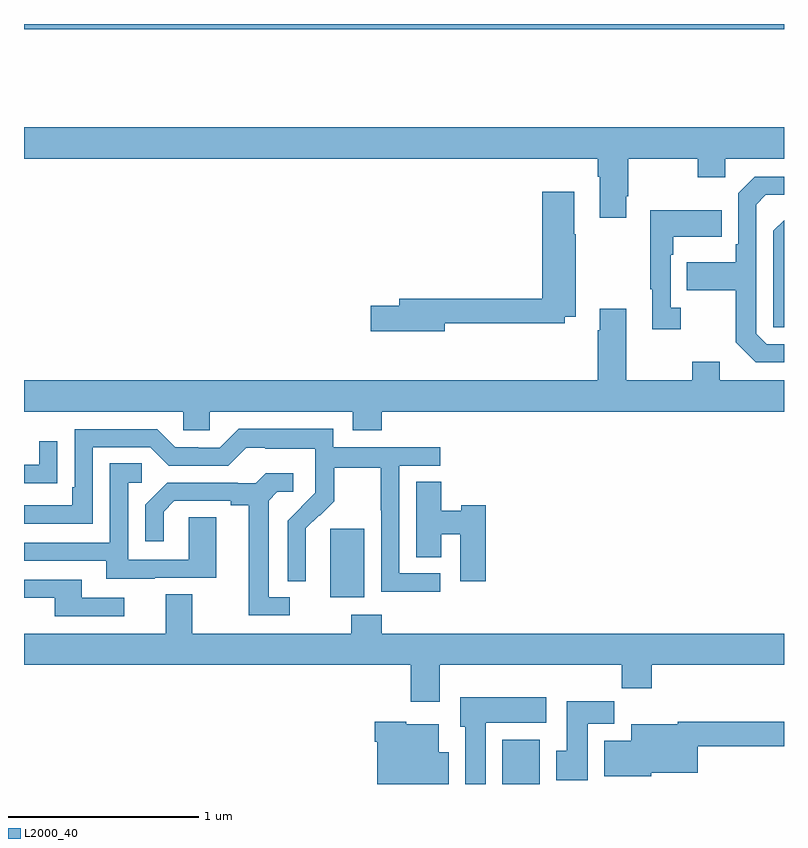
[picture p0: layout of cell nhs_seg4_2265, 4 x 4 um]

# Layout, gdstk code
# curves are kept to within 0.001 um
import gdstk
lib = gdstk.Library(unit=1e-6, precision=1e-09)
def R(c, l, rs):  # rectangles x0, y0, x1, y1
    for r in rs: c.add(gdstk.rectangle(r[:2], r[2:], *l))
def P(c, l, *ps):  # polygons
    for p in ps: c.add(gdstk.Polygon(p, *l))
L2000_40 = (2000, 40)

nhs_seg4_2265 = lib.new_cell('nhs_seg4_2265')
R(nhs_seg4_2265, L2000_40, [(231.518,754.9,231.715,755.134), (230.612,755.882,230.791,756.243), (229,758.872,233,758.9)])
P(nhs_seg4_2265, L2000_40, [(232.171,757.993),(232.179,757.993),(232.179,758.192),(232.546,758.192),(232.546,758.093),(232.692,758.093),(232.692,758.192),(233,758.192),(233,758.356),(229,758.356),(229,758.192),(232.019,758.192),(232.019,758.096),(232.031,758.096),(232.031,757.881),(232.171,757.881)],
  [(233,757.215),(232.908,757.215),(232.854,757.269),(232.854,757.95),(232.905,758.001),(233,758.001),(233,758.097),(232.845,758.097),(232.758,758.01),(232.758,757.741),(232.746,757.741),(232.746,757.645),(232.489,757.645),(232.489,757.498),(232.746,757.498),(232.746,757.225),(232.851,757.119),(233,757.119)],
  [(231.214,757.326),(231.846,757.326),(231.846,757.358),(231.903,757.358),(231.903,757.793),(231.895,757.793),(231.895,758.017),(231.728,758.017),(231.728,757.454),(230.975,757.454),(230.975,757.418),(230.826,757.418),(230.826,757.283),(231.214,757.283)],
  [(232.456,757.406),(232.404,757.406),(232.404,757.685),(232.417,757.685),(232.417,757.781),(232.673,757.781),(232.673,757.921),(232.296,757.921),(232.296,757.505),(232.307,757.505),(232.307,757.293),(232.456,757.293)],
  [(233,757.868),(232.944,757.812),(232.944,757.305),(233,757.305)],
  [(230.882,756.86),(233,756.86),(233,757.024),(232.663,757.024),(232.663,757.123),(232.516,757.123),(232.516,757.024),(232.171,757.024),(232.171,757.402),(232.031,757.402),(232.031,757.289),(232.019,757.289),(232.019,757.024),(229,757.024),(229,756.86),(229.839,756.86),(229.839,756.762),(229.977,756.762),(229.977,756.86),(230.729,756.86),(230.729,756.761),(230.882,756.761)],
  [(231.19,756.009),(230.976,756.009),(230.976,756.576),(231.19,756.576),(231.19,756.672),(230.628,756.672),(230.628,756.769),(230.131,756.769),(230.031,756.669),(229.916,756.669),(229.916,756.672),(229.797,756.672),(229.701,756.768),(229.266,756.768),(229.266,756.463),(229.253,756.463),(229.253,756.366),(229,756.366),(229,756.27),(229.362,756.27),(229.362,756.672),(229.665,756.672),(229.761,756.576),(230.076,756.576),(230.169,756.669),(230.269,756.669),(230.269,756.665),(230.532,756.665),(230.532,756.531),(230.534,756.531),(230.534,756.434),(230.388,756.286),(230.388,755.968),(230.484,755.968),(230.483,756.245),(230.553,756.315),(230.556,756.312),(230.633,756.389),(230.633,756.564),(230.878,756.564),(230.878,756.34),(230.88,756.34),(230.88,755.911),(231.19,755.911)],
  [(229.073,756.484),(229.175,756.484),(229.175,756.703),(229.079,756.703),(229.079,756.579),(229,756.579),(229,756.483),(229.073,756.483)],
  [(229.687,755.985),(230.011,755.985),(230.011,756.305),(229.866,756.305),(229.866,756.081),(229.548,756.081),(229.548,756.486),(229.621,756.486),(229.621,756.587),(229.452,756.587),(229.452,756.171),(229,756.171),(229,756.075),(229.433,756.075),(229.433,755.981),(229.687,755.981)],
  [(230.398,755.883),(230.287,755.883),(230.287,756.391),(230.334,756.438),(230.416,756.438),(230.416,756.535),(230.272,756.535),(230.22,756.483),(230.126,756.483),(230.126,756.486),(229.754,756.486),(229.638,756.37),(229.638,756.177),(229.735,756.177),(229.735,756.333),(229.792,756.39),(230.087,756.39),(230.087,756.368),(230.183,756.368),(230.183,755.787),(230.398,755.787)],
  [(231.431,756.368),(231.3,756.368),(231.3,756.337),(231.196,756.337),(231.196,756.491),(231.065,756.491),(231.065,756.094),(231.196,756.094),(231.196,756.215),(231.296,756.215),(231.296,755.967),(231.431,755.967)],
  [(229.528,755.88),(229.303,755.88),(229.303,755.976),(229,755.976),(229,755.88),(229.163,755.88),(229.163,755.784),(229.528,755.784)],
  [(231.187,755.528),(232.147,755.528),(232.147,755.404),(232.304,755.404),(232.304,755.528),(233,755.528),(233,755.692),(230.882,755.692),(230.882,755.791),(230.722,755.791),(230.722,755.692),(229.885,755.692),(229.885,755.9),(229.745,755.9),(229.745,755.692),(229,755.692),(229,755.528),(231.035,755.528),(231.035,755.334),(231.187,755.334)],
  [(231.43,755.222),(231.748,755.222),(231.748,755.356),(231.296,755.356),(231.296,755.202),(231.323,755.202),(231.323,754.9),(231.43,754.9)],
  [(231.967,755.216),(232.106,755.216),(232.106,755.335),(231.857,755.335),(231.857,755.076),(231.8,755.076),(231.8,754.92),(231.967,754.92)],
  [(231.235,755.068),(231.184,755.068),(231.184,755.215),(231.012,755.215),(231.012,755.227),(230.846,755.227),(230.846,755.123),(230.858,755.123),(230.858,754.9),(231.235,754.9)],
  [(232.302,754.958),(232.546,754.958),(232.546,755.098),(233,755.098),(233,755.227),(232.442,755.227),(232.442,755.215),(232.196,755.215),(232.196,755.128),(232.055,755.128),(232.055,754.94),(232.302,754.94)])

lib.write_gds('nhs_seg4_2265.gds')
